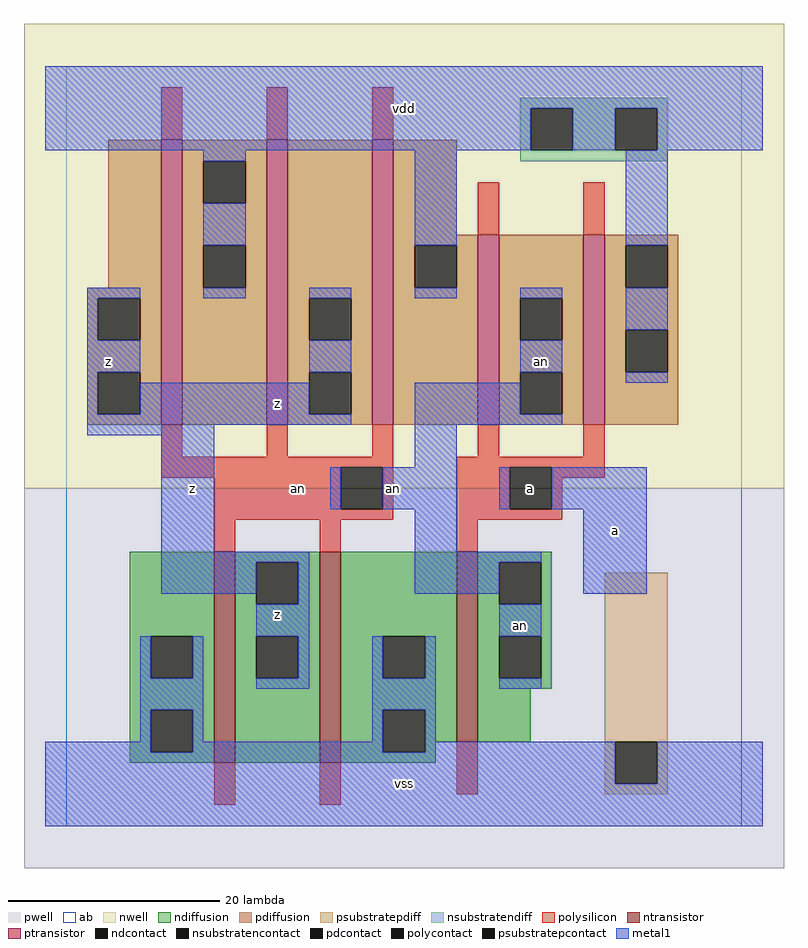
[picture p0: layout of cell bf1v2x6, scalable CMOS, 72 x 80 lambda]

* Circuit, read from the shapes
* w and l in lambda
.subckt bf1v2x6 a an vdd vss z
M1 z an vss vss nfet w=20 l=2 m=2
M2 an a vss vss nfet w=18 l=2
M3 vdd an z vdd pfet w=27 l=2 m=3
M4 an a vdd vdd pfet w=18 l=2 m=2
.ends

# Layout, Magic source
magic
tech scmos
<< ab >>
rect 0 0 64 72
<< pwell >>
rect -4 -4 68 32
<< nwell >>
rect -4 32 68 76
<< polysilicon >>
rect 9 65 11 70
rect 19 65 21 70
rect 29 65 31 70
rect 39 56 41 61
rect 49 56 51 61
rect 9 35 11 38
rect 19 35 21 38
rect 29 35 31 38
rect 39 35 41 38
rect 49 35 51 38
rect 9 34 31 35
rect 9 33 26 34
rect 14 30 26 33
rect 30 30 31 34
rect 14 29 31 30
rect 37 34 51 35
rect 37 30 42 34
rect 46 33 51 34
rect 46 30 47 33
rect 37 29 47 30
rect 14 26 16 29
rect 24 26 26 29
rect 37 26 39 29
rect 14 2 16 6
rect 24 2 26 6
rect 37 3 39 8
<< ndiffusion >>
rect 6 18 14 26
rect 6 14 8 18
rect 12 14 14 18
rect 6 11 14 14
rect 6 7 8 11
rect 12 7 14 11
rect 6 6 14 7
rect 16 25 24 26
rect 16 21 18 25
rect 22 21 24 25
rect 16 18 24 21
rect 16 14 18 18
rect 22 14 24 18
rect 16 6 24 14
rect 26 18 37 26
rect 26 14 30 18
rect 34 14 37 18
rect 26 11 37 14
rect 26 7 30 11
rect 34 8 37 11
rect 39 25 46 26
rect 39 21 41 25
rect 45 21 46 25
rect 39 18 46 21
rect 39 14 41 18
rect 45 14 46 18
rect 39 13 46 14
rect 39 8 44 13
rect 34 7 35 8
rect 26 6 35 7
<< pdiffusion >>
rect 4 51 9 65
rect 2 50 9 51
rect 2 46 3 50
rect 7 46 9 50
rect 2 43 9 46
rect 2 39 3 43
rect 7 39 9 43
rect 2 38 9 39
rect 11 63 19 65
rect 11 59 13 63
rect 17 59 19 63
rect 11 55 19 59
rect 11 51 13 55
rect 17 51 19 55
rect 11 38 19 51
rect 21 50 29 65
rect 21 46 23 50
rect 27 46 29 50
rect 21 43 29 46
rect 21 39 23 43
rect 27 39 29 43
rect 21 38 29 39
rect 31 56 37 65
rect 31 55 39 56
rect 31 51 33 55
rect 37 51 39 55
rect 31 38 39 51
rect 41 50 49 56
rect 41 46 43 50
rect 47 46 49 50
rect 41 43 49 46
rect 41 39 43 43
rect 47 39 49 43
rect 41 38 49 39
rect 51 55 58 56
rect 51 51 53 55
rect 57 51 58 55
rect 51 47 58 51
rect 51 43 53 47
rect 57 43 58 47
rect 51 38 58 43
<< metal1 >>
rect -2 68 66 72
rect -2 64 44 68
rect 48 64 52 68
rect 56 64 66 68
rect 13 63 17 64
rect 13 55 17 59
rect 33 55 37 64
rect 53 55 57 64
rect 2 50 7 51
rect 13 50 17 51
rect 23 50 27 51
rect 33 50 37 51
rect 43 50 47 51
rect 2 46 3 50
rect 2 43 7 46
rect 2 39 3 43
rect 23 43 27 46
rect 7 39 23 42
rect 43 43 47 46
rect 2 38 27 39
rect 33 39 43 42
rect 53 47 57 51
rect 53 42 57 43
rect 33 38 47 39
rect 2 37 14 38
rect 9 26 14 37
rect 33 34 37 38
rect 25 30 26 34
rect 30 30 37 34
rect 41 30 42 34
rect 46 30 55 34
rect 33 26 37 30
rect 9 25 23 26
rect 9 22 18 25
rect 22 21 23 25
rect 33 25 45 26
rect 33 22 41 25
rect 18 18 23 21
rect 49 22 55 30
rect 41 18 45 21
rect 7 14 8 18
rect 12 14 13 18
rect 7 11 13 14
rect 22 14 23 18
rect 18 13 23 14
rect 29 14 30 18
rect 34 14 35 18
rect 7 8 8 11
rect -2 7 8 8
rect 12 8 13 11
rect 29 11 35 14
rect 41 13 45 14
rect 29 8 30 11
rect 12 7 30 8
rect 34 8 35 11
rect 34 7 52 8
rect -2 4 52 7
rect 56 4 66 8
rect -2 0 66 4
<< ntransistor >>
rect 14 6 16 26
rect 24 6 26 26
rect 37 8 39 26
<< ptransistor >>
rect 9 38 11 65
rect 19 38 21 65
rect 29 38 31 65
rect 39 38 41 56
rect 49 38 51 56
<< polycontact >>
rect 26 30 30 34
rect 42 30 46 34
<< ndcontact >>
rect 8 14 12 18
rect 8 7 12 11
rect 18 21 22 25
rect 18 14 22 18
rect 30 14 34 18
rect 30 7 34 11
rect 41 21 45 25
rect 41 14 45 18
<< pdcontact >>
rect 3 46 7 50
rect 3 39 7 43
rect 13 59 17 63
rect 13 51 17 55
rect 23 46 27 50
rect 23 39 27 43
rect 33 51 37 55
rect 43 46 47 50
rect 43 39 47 43
rect 53 51 57 55
rect 53 43 57 47
<< psubstratepcontact >>
rect 52 4 56 8
<< nsubstratencontact >>
rect 44 64 48 68
rect 52 64 56 68
<< psubstratepdiff >>
rect 51 8 57 24
rect 51 4 52 8
rect 56 4 57 8
rect 51 3 57 4
<< nsubstratendiff >>
rect 43 68 57 69
rect 43 64 44 68
rect 48 64 52 68
rect 56 64 57 68
rect 43 63 57 64
<< labels >>
rlabel polysilicon 22 32 22 32 6 an
rlabel metal1 12 32 12 32 6 z
rlabel metal1 4 44 4 44 6 z
rlabel metal1 20 20 20 20 6 z
rlabel metal1 20 40 20 40 6 z
rlabel metal1 32 4 32 4 6 vss
rlabel metal1 43 19 43 19 6 an
rlabel metal1 31 32 31 32 6 an
rlabel polycontact 44 32 44 32 6 a
rlabel metal1 45 44 45 44 6 an
rlabel metal1 32 68 32 68 6 vdd
rlabel metal1 52 28 52 28 6 a
<< end >>
